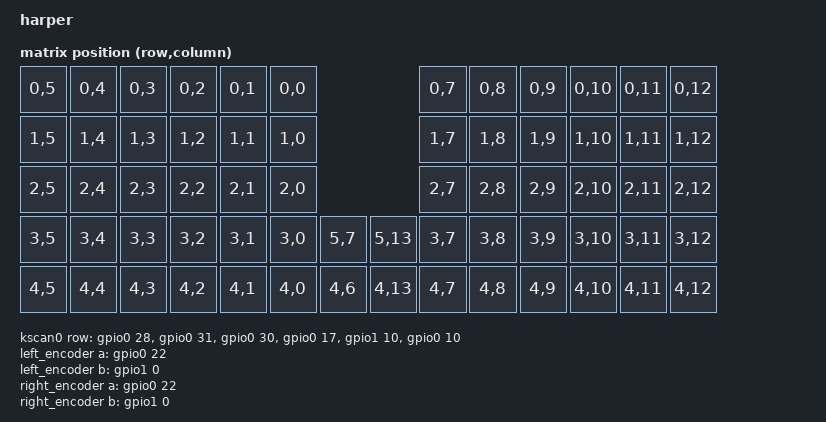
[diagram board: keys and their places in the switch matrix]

/dts-v1/;

#define ZMK_POINTING_DEFAULT_SCRL_VAL 180

#include <nordic/nrf52840_qiaa.dtsi>
#include <dt-bindings/zmk/matrix_transform.h>
#include <dt-bindings/led/led.h>

#include "harper.pinctrl.dtsi"
#include "harper.layouts.dtsi"

&spi3 {
	compatible = "nordic,nrf-spim";
	status = "okay";

	pinctrl-0 = <&spi3_default>;
	pinctrl-1 = <&spi3_sleep>;
	pinctrl-names = "default", "sleep";

	led_strip: ws2812@0 {
		compatible = "worldsemi,ws2812-spi";

		// SPI
		reg = <0>; // ignored, but necessary for SPI bindings
		spi-max-frequency = <4000000>;

		// WS2812
		chain-length = <39>; // Leds count. There are per-key RGB, but the first 8 are underglow
		spi-one-frame = <0x70>;
		spi-zero-frame = <0x40>;
		color-mapping = <LED_COLOR_ID_GREEN LED_COLOR_ID_RED LED_COLOR_ID_BLUE>;
	};
};

&pinctrl {
	spi3_default: spi3_default {
		group1 {
			psels = <NRF_PSEL(SPIM_MOSI, 0, 20)>;
		};
	};

	spi3_sleep: spi3_sleep {
		group1 {
			psels = <NRF_PSEL(SPIM_MOSI, 0, 20)>;
			low-power-enable;
		};
	};
};

&harper_layout {
    transform = <&default_transform>;
};

/ {
	model = "harper";
	compatible = "harper";

	chosen {
		zephyr,code-partition = &code_partition;
		zephyr,sram = &sram0;
		zephyr,flash = &flash0;
		zmk,kscan = &kscan0;
		zmk,physical-layout = &harper_layout;
        zephyr,console = &cdc_acm_uart;
		zmk,battery = &vbatt;
		zmk,underglow = &led_strip;
		zmk,led-widgets-dev = &leds;
	};

	default_transform: keymap_transform_0 {
      		compatible = "zmk,matrix-transform";
      		columns = <14>;
      		rows = <5>;
    // | SW6  | SW5  | SW4  | SW3  | SW2  | SW1  |                         | SW1  | SW2  | SW3  | SW4  | SW5  | SW6  |
	// | SW12 | SW11 | SW10 | SW9  | SW8  | SW7  |                         | SW7  | SW8  | SW9  | SW10 | SW11 | SW12 |
	// | SW18 | SW17 | SW16 | SW15 | SW14 | SW13 |                         | SW13 | SW14 | SW15 | SW16 | SW17 | SW18 |
	// | SW24 | SW23 | SW22 | SW21 | SW20 | SW19 | ENCL |           | ENCR | SW19 | SW20 | SW21 | SW22 | SW23 | SW24 |
	// | SW32 | SW31 | SW30 | SW29 | SW28 | SW27 | SW26 |           | SW26 | SW27 | SW28 | SW29 | SW30 | SW31 | SW32 |
      		map = <
		RC(0,5) RC(0,4) RC(0,3) RC(0,2) RC(0,1) RC(0,0)                     RC(0,7)  RC(0,8) RC(0,9) RC(0,10) RC(0,11) RC(0,12)
		RC(1,5) RC(1,4) RC(1,3) RC(1,2) RC(1,1) RC(1,0)                     RC(1,7)  RC(1,8) RC(1,9) RC(1,10) RC(1,11) RC(1,12)
		RC(2,5) RC(2,4) RC(2,3) RC(2,2) RC(2,1) RC(2,0)                     RC(2,7)  RC(2,8) RC(2,9) RC(2,10) RC(2,11) RC(2,12)
		RC(3,5) RC(3,4) RC(3,3) RC(3,2) RC(3,1) RC(3,0) RC(5,7)    RC(5,13) RC(3,7)  RC(3,8) RC(3,9) RC(3,10) RC(3,11) RC(3,12)
 		RC(4,5) RC(4,4) RC(4,3) RC(4,2) RC(4,1) RC(4,0) RC(4,6)    RC(4,13) RC(4,7) RC(4,8) RC(4,9) RC(4,10) RC(4,11) RC(4,12)
      		>;
	};

	kscan0: kscan {
		compatible = "zmk,kscan-gpio-matrix";
		diode-direction = "col2row";
		wakeup-source;
		row-gpios
			= <&gpio0 28 (GPIO_ACTIVE_HIGH | GPIO_PULL_DOWN)>
			, <&gpio0 31 (GPIO_ACTIVE_HIGH | GPIO_PULL_DOWN)>
			, <&gpio0 30 (GPIO_ACTIVE_HIGH | GPIO_PULL_DOWN)>
			, <&gpio0 17 (GPIO_ACTIVE_HIGH | GPIO_PULL_DOWN)>
			, <&gpio1 10 (GPIO_ACTIVE_HIGH | GPIO_PULL_DOWN)>
			, <&gpio0 10 (GPIO_ACTIVE_HIGH | GPIO_PULL_DOWN)> //encoder
			;

	};

	ext-power {
		compatible = "zmk,ext-power-generic";
		control-gpios = <&gpio0 29 GPIO_ACTIVE_LOW>;
		init-delay-ms = <50>;
	};

	leds: leds {
		compatible = "gpio-leds";
		status_led: led_0 {
			gpios = <&gpio1 11 (GPIO_ACTIVE_HIGH | GPIO_PULL_DOWN)>;
		};
		bat_led_1: led_b_1 {
			gpios = <&gpio0 6 (GPIO_ACTIVE_HIGH | GPIO_PULL_DOWN)>;
		};
		bat_led_2: led_b_2 {
			gpios = <&gpio0 4 (GPIO_ACTIVE_HIGH | GPIO_PULL_DOWN)>;
		};
		bat_led_3: led_b_3 {
			gpios = <&gpio1 13 (GPIO_ACTIVE_HIGH | GPIO_PULL_DOWN)>;
		};
	};

	vbatt: vbatt {
		compatible = "zmk,battery-voltage-divider";
		io-channels = <&adc 0>;
		output-ohms = <2000000>;
		full-ohms = <(2000000 + 820000)>;
	};

	left_encoder: encoder_left {
		compatible = "alps,ec11";
		steps = <30>;
		a-gpios = <&gpio0 22 (GPIO_ACTIVE_HIGH | GPIO_PULL_UP)>;
		b-gpios = <&gpio1  0 (GPIO_ACTIVE_HIGH | GPIO_PULL_UP)>;
		status = "disabled";
	};

	right_encoder: encoder_right {
		compatible = "alps,ec11";
		steps = <30>;
		a-gpios = <&gpio0 22 (GPIO_ACTIVE_HIGH | GPIO_PULL_UP)>;
		b-gpios = <&gpio1  0 (GPIO_ACTIVE_HIGH | GPIO_PULL_UP)>;
		status = "disabled";
	};

	sensors {
		compatible = "zmk,keymap-sensors";
		sensors = <&left_encoder &right_encoder>;
	};



	// led-widgets {
    //     compatible = "zmk,led-widgets";
    //     boot {
    //         boot {
    //             priority = <100>;
    //             blue { len-ms = <100>; brightness = <0 0 50>; };
    //             off { len-ms = <100>; };
    //             blue2 { len-ms = <100>; brightness = <0 0 50>; };
    //         };
    //     };
    //     battery {
    //         low {
    //             arg = <30>;
    //             priority = <50>;
    //             period-ms = <30000>;
    //             green { len-ms = <100>; brightness = <0 20 0>; };
    //             red { len-ms = <200>; brightness = <100 0 0>; };
    //         };
    //         mid {
    //             arg = <70>;
    //             priority = <50>;
    //             period-ms = <30000>;
    //             green { len-ms = <100>; brightness = <0 20 0>; };
    //             yellow { len-ms = <200>; brightness = <100 100 0>; };
    //         };
    //         high {
    //             arg = <100>;
    //             priority = <50>;
    //             period-ms = <30000>;
    //             green { len-ms = <50>; brightness = <0 100 0>; };
    //         };
    //     };
    //     layer {
    //         lower {
    //             arg = <1>;
    //             priority = <20>;
    //             stat { brightness = <0 0 20>; };
    //         };
    //         raise {
    //             arg = <2>;
    //             priority = <20>;
    //             stat { brightness = <0 20 0>; };
    //         };
    //         game {
    //             arg = <3>;
    //             priority = <20>;
    //             stat { brightness = <0 0 50>; };
    //         };
    //         steno {
    //             arg = <4>;
    //             priority = <20>;
    //             stat { brightness = <50 0 0>; };
    //         };
    //     };
    //     output {
    //         usb {
    //             arg = <0>;
    //             priority = <100>;
    //             stat { len-ms = <200>; brightness = <0 75 0>; };
    //         };
    //         ble {
    //             arg = <1>;
    //             priority = <100>;
    //             stat { len-ms = <200>; brightness = <0 0 100>; };
    //         };
    //     };
    //     profile {
    //         0 {
    //             arg = <0>;
    //             priority = <90>;
    //             head { len-ms = <50>; brightness = <0 0 50>; };
    //             off { len-ms = <150>; };
    //             tail { len-ms = <100>; brightness = <100 0 0>; };
    //         };
    //         1 {
    //             arg = <1>;
    //             priority = <90>;
    //             head { len-ms = <50>; brightness = <0 0 50>; };
    //             off { len-ms = <150>; };
    //             tail { len-ms = <100>; brightness = <0 100 0>; };
    //         };
    //         2 {
    //             arg = <2>;
    //             priority = <90>;
    //             head { len-ms = <50>; brightness = <0 0 50>; };
    //             off { len-ms = <150>; };
    //             tail { len-ms = <100>; brightness = <0 0 100>; };
    //         };
    //     };
    // };


};

&adc {
	status = "okay";
};

&gpiote {
	status = "okay";
};

&gpio0 {
	status = "okay";
};

&gpio1 {
	status = "okay";
};

&usbd {
  status = "okay";
  cdc_acm_uart: cdc_acm_uart {
    compatible = "zephyr,cdc-acm-uart";
  };
};

zephyr_udc0: &usbd {
    status = "okay";
};

&flash0 {
	/*
	 * For more information, see:
	 * http://docs.zephyrproject.org/latest/devices/dts/flash_partitions.html
	 */
	partitions {
		compatible = "fixed-partitions";
		#address-cells = <1>;
		#size-cells = <1>;

		sd_partition: partition@0 {
			label = "softdevice";
			reg = <0x00000000 0x00026000>;
		};
		code_partition: partition@26000 {
			label = "code_partition";
			reg = <0x00026000 0x000c6000>;
		};

		/*
		 * The flash starting at 0x000ec000 and ending at
		 * 0x000f3fff is reserved for use by the application.
		 */

		/*
		 * Storage partition will be used by FCB/LittleFS/NVS
		 * if enabled.
		 */
		storage_partition: partition@ec000 {
			label = "storage";
			reg = <0x000ec000 0x00008000>;
		};

		boot_partition: partition@f4000 {
			label = "adafruit_boot";
			reg = <0x000f4000 0x0000c000>;
		};
	};
};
